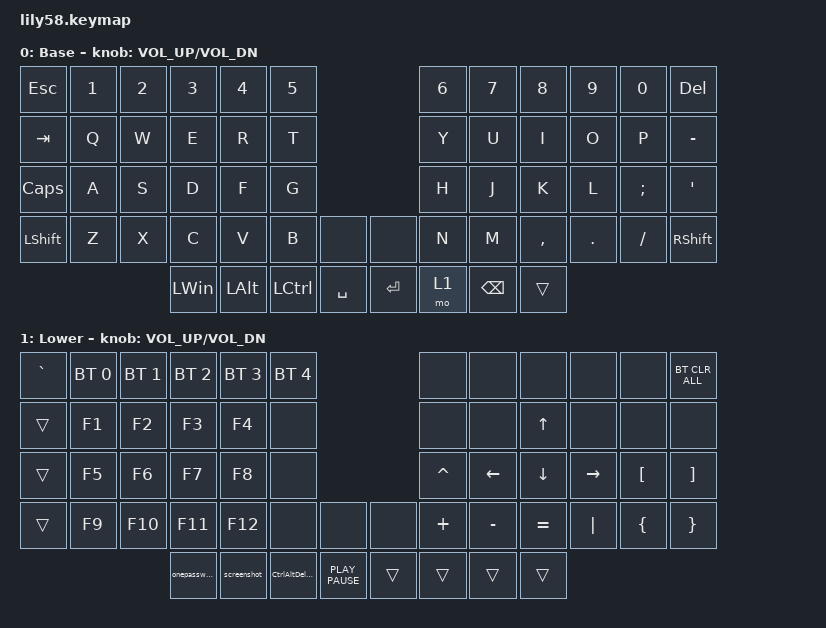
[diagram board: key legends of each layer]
/*
 * Copyright (c) 2020 The ZMK Contributors
 *
 * SPDX-License-Identifier: MIT
 */

#include <behaviors.dtsi>
#include <dt-bindings/zmk/bt.h>
#include <dt-bindings/zmk/keys.h>

/ {
    macros {
        CtrlAltDelete: CtrlAltDelete {
            compatible = "zmk,behavior-macro";
            #binding-cells = <0>;
            bindings = <&kp LC(LA(DEL))>;
            label = "CTRLALTDELETE";
        };

        screenshot: screenshot {
            compatible = "zmk,behavior-macro";
            #binding-cells = <0>;
            bindings = <&kp LG(LS(S))>;
            label = "SCREENSHOT";
        };

        onepassword: onepassword {
            compatible = "zmk,behavior-macro";
            #binding-cells = <0>;
            bindings = <&kp LS(LC(SPACE))>;
            label = "ONEPASSWORD";
        };
    };

    keymap {
        compatible = "zmk,keymap";

        base_layer {
            // ------------------------------------------------------------------------------------------------------------
            // |  ESC  |  1  |  2  |  3   |  4   |  5   |                   |  6   |  7    |  8    |  9   |   0   |   `   |
            // |  TAB  |  Q  |  W  |  E   |  R   |  T   |                   |  Y   |  U    |  I    |  O   |   P   |   -   |
            // |  CTRL |  A  |  S  |  D   |  F   |  G   |                   |  H   |  J    |  K    |  L   |   ;   |   '   |
            // | SHIFT |  Z  |  X  |  C   |  V   |  B   |   "["  |  |  "]"  |  N   |  M    |  ,    |  .   |   /   | SHIFT |
            //                     | ALT  | GUI  | LOWER|  SPACE |  | ENTER | RAISE| BSPC  | GUI   |

            display-name = "Base";
            bindings = <
&kp ESC       &kp N1  &kp N2  &kp N3    &kp N4        &kp N5                                  &kp N6  &kp N7         &kp N8     &kp N9   &kp N0    &kp DELETE
&kp TAB       &kp Q   &kp W   &kp E     &kp R         &kp T                                   &kp Y   &kp U          &kp I      &kp O    &kp P     &kp MINUS
&kp CAPSLOCK  &kp A   &kp S   &kp D     &kp F         &kp G                                   &kp H   &kp J          &kp K      &kp L    &kp SEMI  &kp SQT
&kp LSHFT     &kp Z   &kp X   &kp C     &kp V         &kp B             &none        &none    &kp N   &kp M          &kp COMMA  &kp DOT  &kp FSLH  &kp RSHFT
                              &kp LWIN  &kp LEFT_ALT  &kp LEFT_CONTROL  &kp SPACE    &kp RET  &mo 1   &kp BACKSPACE  &trans
            >;

            sensor-bindings = <&inc_dec_kp C_VOL_UP C_VOL_DN>;
        };

        lower_layer {
            // ------------------------------------------------------------------------------------------------------------
            // | BTCLR | BT1 | BT2 |  BT3 |  BT4 |  BT5 |                   |      |       |       |      |       |       |
            // |  F1   |  F2 |  F3 |  F4  |  F5  |  F6  |                   |  F7  |  F8   |  F9   |  F10 |  F11  |  F12  |
            // |   `   |  !  |  @  |  #   |  $   |  %   |                   |  ^   |  &    |  *    |  (   |   )   |   ~   |
            // |       |     |     |      |      |      |        |  |       |      |  _    |  +    |  {   |   }   |  "|"  |
            //                     |      |      |      |        |  |       |      |       |       |

            display-name = "Lower";
            bindings = <
&kp GRAVE  &bt BT_SEL 0  &bt BT_SEL 1  &bt BT_SEL 2  &bt BT_SEL 3  &bt BT_SEL 4                                &none      &none      &none         &none      &none             &bt BT_CLR_ALL
&trans     &kp F1        &kp F2        &kp F3        &kp F4        &none                                       &none      &none      &kp UP_ARROW  &none      &none             &none
&trans     &kp F5        &kp F6        &kp F7        &kp F8        &none                                       &kp CARET  &kp LEFT   &kp DOWN      &kp RIGHT  &kp LEFT_BRACKET  &kp RIGHT_BRACKET
&trans     &kp F9        &kp F10       &kp F11       &kp F12       &none           &none               &none   &kp PLUS   &kp MINUS  &kp EQUAL     &kp PIPE   &kp LEFT_BRACE    &kp RIGHT_BRACE
                                       &onepassword  &screenshot   &CtrlAltDelete  &kp K_PLAY_PAUSE    &trans  &trans     &trans     &trans
            >;

            sensor-bindings = <&inc_dec_kp C_VOL_UP C_VOL_DN>;
        };
    };
};
